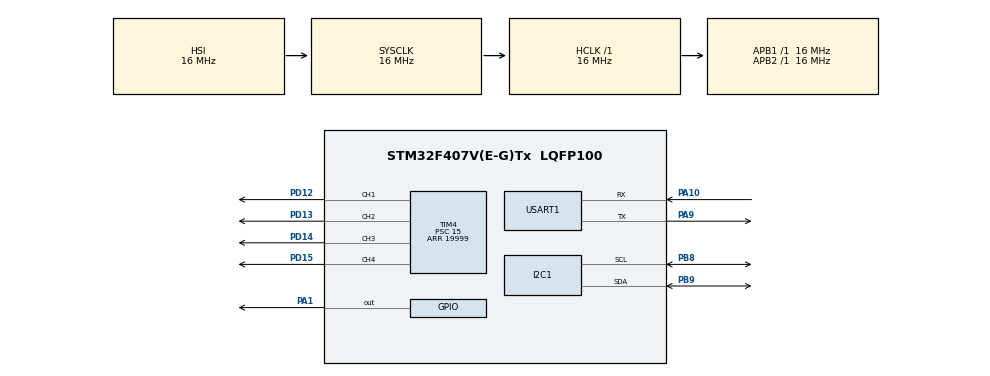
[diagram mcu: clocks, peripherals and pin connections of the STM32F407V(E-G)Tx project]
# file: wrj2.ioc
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FREERTOS.Tasks01=defaultTask,24,128,StartDefaultTask,Default,NULL,Dynamic,NULL,NULL;ControlTask,40,512,StartControlTask,Default,NULL,Dynamic,NULL,NULL;UartTask,24,256,StartUartTask,Default,NULL,Dynamic,NULL,NULL;StatusTask,8,512,StartStatusTask,Default,NULL,Dynamic,NULL,NULL
Mcu.Family=STM32F4
Mcu.Name=STM32F407V(E-G)Tx
Mcu.Package=LQFP100
NVIC.PriorityGroup=NVIC_PRIORITYGROUP_4
NVIC.RCC_IRQn=true\:5\:0\:false\:false\:true\:true\:true\:false\:true
NVIC.TIM6_DAC_IRQn=true\:15\:0\:false\:false\:true\:false\:false\:true\:true
NVIC.TimeBase=TIM6_DAC_IRQn
NVIC.TimeBaseIP=TIM6
PA1.Signal=GPIO_Output
PA10.Mode=Asynchronous
PA10.Signal=USART1_RX
PA13.Mode=Serial_Wire
PA13.Signal=SYS_JTMS-SWDIO
PA14.Mode=Serial_Wire
PA14.Signal=SYS_JTCK-SWCLK
PA9.Mode=Asynchronous
PA9.Signal=USART1_TX
PB8.Mode=I2C
PB8.Signal=I2C1_SCL
PB9.Mode=I2C
PB9.Signal=I2C1_SDA
PD12.Signal=S_TIM4_CH1
PD13.Signal=S_TIM4_CH2
PD14.Signal=S_TIM4_CH3
PD15.Signal=S_TIM4_CH4
PH0-OSC_IN.Mode=HSE-External-Oscillator
PH0-OSC_IN.Signal=RCC_OSC_IN
PH1-OSC_OUT.Mode=HSE-External-Oscillator
PH1-OSC_OUT.Signal=RCC_OSC_OUT
ProjectManager.HeapSize=0x200
ProjectManager.StackSize=0x400
ProjectManager.TargetToolchain=MDK-ARM V5.32
RCC.AHBFreq_Value=16000000
RCC.APB1Freq_Value=16000000
RCC.APB2Freq_Value=16000000
RCC.CortexFreq_Value=16000000
RCC.HSE_VALUE=25000000
RCC.HSI_VALUE=16000000
RCC.LSE_VALUE=32768
RCC.SYSCLKFreq_VALUE=16000000
RCC.VCOOutputFreq_Value=192000000
SH.S_TIM4_CH1.0=TIM4_CH1,PWM Generation1 CH1
SH.S_TIM4_CH2.0=TIM4_CH2,PWM Generation2 CH2
SH.S_TIM4_CH3.0=TIM4_CH3,PWM Generation3 CH3
SH.S_TIM4_CH4.0=TIM4_CH4,PWM Generation4 CH4
TIM4.Channel-PWM\ Generation1\ CH1=TIM_CHANNEL_1
TIM4.Channel-PWM\ Generation2\ CH2=TIM_CHANNEL_2
TIM4.Channel-PWM\ Generation3\ CH3=TIM_CHANNEL_3
TIM4.Channel-PWM\ Generation4\ CH4=TIM_CHANNEL_4
TIM4.Period=19999
TIM4.Prescaler=15
TIM4.Pulse-PWM\ Generation1\ CH1=1000
TIM4.Pulse-PWM\ Generation2\ CH2=1000
TIM4.Pulse-PWM\ Generation3\ CH3=1000
TIM4.Pulse-PWM\ Generation4\ CH4=1000
USART1.VirtualMode=VM_ASYNC
VP_FREERTOS_VS_CMSIS_V2.Mode=CMSIS_V2
VP_SYS_VS_tim6.Mode=TIM6
board=custom

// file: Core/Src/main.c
/* USER CODE BEGIN Header */
/**
  ******************************************************************************
  * @file           : main.c
  * @brief          : Main program body
  ******************************************************************************
  * @attention
  *
  * Copyright (c) 2026 STMicroelectronics.
  * All rights reserved.
  *
  * This software is licensed under terms that can be found in the LICENSE file
  * in the root directory of this software component.
  * If no LICENSE file comes with this software, it is provided AS-IS.
  *
  ******************************************************************************
  */
/* USER CODE END Header */
#include "main.h"
#include "cmsis_os.h"
#include "i2c.h"
#include "usart.h"
#include "gpio.h"
#include "tim.h"
/* USER CODE BEGIN Includes */
// App modules
#include "app_init.h"
#include "app_state.h"
#include "app_command.h"
#include "app_uart.h"
#include "uart_queue.h"

// Flight modules
#include "mpu6050.h"
#include "attitude.h"
#include "pid.h"
#include "motor.h"
#include "flight_control.h"
#include "flight_types.h"
/* USER CODE END Includes */

void SystemClock_Config(void);
void MX_FREERTOS_Init(void);

int main(void)
{

  /* MCU Configuration--------------------------------------------------------*/

  /* Reset of all peripherals, Initializes the Flash interface and the Systick. */
  HAL_Init();

  /* Configure the system clock */
  SystemClock_Config();

  /* Initialize all configured peripherals */
  MX_GPIO_Init();
  MX_USART1_UART_Init();
  MX_I2C1_Init();
  MX_TIM4_Init();
  /* USER CODE BEGIN 2 */
 app_init();
  /* USER CODE END 2 */

  /* Init scheduler */
  osKernelInitialize();  /* Call init function for freertos objects (in cmsis_os2.c) */
  MX_FREERTOS_Init();

  /* Start scheduler */
  osKernelStart();

  /* We should never get here as control is now taken by the scheduler */

  /* Infinite loop */
  while (1)
{

  }
}

void SystemClock_Config(void)
{
  RCC_OscInitTypeDef RCC_OscInitStruct = {0};
  RCC_ClkInitTypeDef RCC_ClkInitStruct = {0};

  /** Configure the main internal regulator output voltage
  */
  __HAL_RCC_PWR_CLK_ENABLE();
  __HAL_PWR_VOLTAGESCALING_CONFIG(PWR_REGULATOR_VOLTAGE_SCALE1);

  /** Initializes the RCC Oscillators according to the specified parameters
  * in the RCC_OscInitTypeDef structure.
  */
  RCC_OscInitStruct.OscillatorType = RCC_OSCILLATORTYPE_HSI;
  RCC_OscInitStruct.HSIState = RCC_HSI_ON;
  RCC_OscInitStruct.HSICalibrationValue = RCC_HSICALIBRATION_DEFAULT;
  RCC_OscInitStruct.PLL.PLLState = RCC_PLL_NONE;
  if (HAL_RCC_OscConfig(&RCC_OscInitStruct) != HAL_OK)
  {
    Error_Handler();
  }

  /** Initializes the CPU, AHB and APB buses clocks
  */
  RCC_ClkInitStruct.ClockType = RCC_CLOCKTYPE_HCLK|RCC_CLOCKTYPE_SYSCLK
                              |RCC_CLOCKTYPE_PCLK1|RCC_CLOCKTYPE_PCLK2;
  RCC_ClkInitStruct.SYSCLKSource = RCC_SYSCLKSOURCE_HSI;
  RCC_ClkInitStruct.AHBCLKDivider = RCC_SYSCLK_DIV1;
  RCC_ClkInitStruct.APB1CLKDivider = RCC_HCLK_DIV1;
  RCC_ClkInitStruct.APB2CLKDivider = RCC_HCLK_DIV1;

  if (HAL_RCC_ClockConfig(&RCC_ClkInitStruct, FLASH_LATENCY_0) != HAL_OK)
  {
    Error_Handler();
  }
}

void HAL_TIM_PeriodElapsedCallback(TIM_HandleTypeDef *htim)
{
  if (htim->Instance == TIM6)
  {
    HAL_IncTick();
  }
}

void Error_Handler(void)
{
  __disable_irq();
  while (1)
  {
  }
}

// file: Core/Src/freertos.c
/* USER CODE BEGIN Header */
/**
  ******************************************************************************
  * File Name          : freertos.c
  * Description        : Code for freertos applications
  ******************************************************************************
  * @attention
  *
  * Copyright (c) 2026 STMicroelectronics.
  * All rights reserved.
  *
  * This software is licensed under terms that can be found in the LICENSE file
  * in the root directory of this software component.
  * If no LICENSE file comes with this software, it is provided AS-IS.
  *
  ******************************************************************************
  */
/* USER CODE END Header */

#include "FreeRTOS.h"
#include "task.h"
#include "main.h"
#include "cmsis_os.h"

/* USER CODE BEGIN Includes */
#include "flight_types.h"
#include <stdio.h>
#include "app_uart.h"
#include "mpu6050.h"
#include "attitude.h"
#include "motor.h"
#include "flight_control.h"
#include "app_state.h"
#include "app_command.h"
#include "uart_queue.h"
/* USER CODE END Includes */

/* USER CODE BEGIN PTD */
#define UART_QUEUE_TEXT_SIZE 192
#define UART_QUEUE_LENGTH    8

typedef struct
{
  char text[UART_QUEUE_TEXT_SIZE];    // chuan kou yao fa song de yi tiao wen ben
} UartQueueMessage;

/* USER CODE END PTD */

/* USER CODE BEGIN Variables */

uint32_t control_task_count = 0;
uint32_t uart_task_count = 0;
uint32_t status_task_count = 0;

osMessageQueueId_t uart_queueHandle;    // chuan kou xiao xi dui lie ju bing

const osMessageQueueAttr_t uart_queue_attributes = {
  .name = "uart_queue"                  // dui lie ming zi, zhu yao yong yu tiao shi
};

osThreadId_t UartPrintTaskHandle;       // chuan kou da yin ren wu ju bing

const osThreadAttr_t UartPrintTask_attributes = {
  .name = "UartPrintTask",              // ren wu ming zi
  .stack_size = 512 * 4,                // ren wu zhan da xiao
  .priority = (osPriority_t) osPriorityBelowNormal,  // ren wu you xian ji
};

/* USER CODE END Variables */
/* Definitions for defaultTask */
osThreadId_t defaultTaskHandle;
const osThreadAttr_t defaultTask_attributes = {
  .name = "defaultTask",
  .stack_size = 128 * 4,
  .priority = (osPriority_t) osPriorityNormal,
};
/* Definitions for ControlTask */
osThreadId_t ControlTaskHandle;
const osThreadAttr_t ControlTask_attributes = {
  .name = "ControlTask",
  .stack_size = 512 * 4,
  .priority = (osPriority_t) osPriorityHigh,
};
/* Definitions for UartTask */
osThreadId_t UartTaskHandle;
const osThreadAttr_t UartTask_attributes = {
  .name = "UartTask",
  .stack_size = 256 * 4,
  .priority = (osPriority_t) osPriorityNormal,
};
/* Definitions for StatusTask */
osThreadId_t StatusTaskHandle;
const osThreadAttr_t StatusTask_attributes = {
  .name = "StatusTask",
  .stack_size = 512 * 4,
  .priority = (osPriority_t) osPriorityLow,
};

/* USER CODE BEGIN FunctionPrototypes */

void StartUartPrintTask(void *argument);        // chuan kou da yin ren wu han shu

/* USER CODE END FunctionPrototypes */

void StartDefaultTask(void *argument);
void StartControlTask(void *argument);
void StartUartTask(void *argument);
void StartStatusTask(void *argument);

void MX_FREERTOS_Init(void); /* (MISRA C 2004 rule 8.1) */

void MX_FREERTOS_Init(void) {

  /* USER CODE BEGIN RTOS_MUTEX */
//	uart_mutexHandle = osMutexNew(&uart_mutex_attributes);    // chuang jian chuan kou hu chi suo
  /* add mutexes, ... */
  /* USER CODE END RTOS_MUTEX */

  /* USER CODE BEGIN RTOS_QUEUES */
  /* add queues, ... */
	uart_queueHandle = osMessageQueueNew(UART_QUEUE_LENGTH,
                                     sizeof(UartQueueMessage),
                                     &uart_queue_attributes);    // chuang jian chuan kou xiao xi dui lie
  /* USER CODE END RTOS_QUEUES */

  /* Create the thread(s) */
  /* creation of defaultTask */
  defaultTaskHandle = osThreadNew(StartDefaultTask, NULL, &defaultTask_attributes);

  /* creation of ControlTask */
  ControlTaskHandle = osThreadNew(StartControlTask, NULL, &ControlTask_attributes);

  /* creation of UartTask */
  UartTaskHandle = osThreadNew(StartUartTask, NULL, &UartTask_attributes);

  /* creation of StatusTask */
  StatusTaskHandle = osThreadNew(StartStatusTask, NULL, &StatusTask_attributes);

  /* USER CODE BEGIN RTOS_THREADS */
  /* add threads, ... */
	UartPrintTaskHandle = osThreadNew(StartUartPrintTask,
                                  NULL,
                                  &UartPrintTask_attributes);    // chuang jian chuan kou da yin ren wu
  /* USER CODE END RTOS_THREADS */

}

void StartDefaultTask(void *argument)
{
  for(;;)
  {
    osDelay(1);
  }
}

void StartControlTask(void *argument) // kong zhi suan fa
{
  /* USER CODE BEGIN StartControlTask */
  /* Infinite loop */
	HAL_StatusTypeDef ret;    // baocun MPU6050 duqu jieguo
  float dt = 0.01f;         // 10ms = 0.01s
  for(;;)
  {
		control_task_count++;   // ControlTask yunxing cishu +1

    ret = mpu6050_read_raw(&raw);    // duqu MPU6050 yuan shi shu ju

    if (ret == HAL_OK)               // duqu chenggong
    {
      attitude_update(&raw, &attitude, dt);    // gengxin zitai jiao

      if (flight_state == FLIGHT_ARMED)        // zhiyou jiesuo hou cai zuo baohu
      {
        if (HAL_GetTick() - last_cmd_tick >= 5000)
        {
          flight_state = FLIGHT_LOCKED;        // 5s mei mingling, zidong suoding
          motor_lock_output(&motor1, &motor2, &motor3, &motor4);

          uart_queue_send_string("CMD_TIMEOUT_LOCKED\r\n");

        }

        if (attitude_is_safe(&attitude) == 0)
        {
          flight_state = FLIGHT_ERROR;         // jiaodu guo da, jinru ERROR
          motor_lock_output(&motor1, &motor2, &motor3, &motor4);

          uart_queue_send_string("ERROR=ANGLE_LIMIT\r\n");

        }
      }

      flight_control_update(flight_state,
                            &attitude,
                            dt,
                            base_pwm,
                            &roll_pid_output,
                            &pitch_pid_output,
                            &motor1,
                            &motor2,
                            &motor3,
                            &motor4);
    }
    else
    {
      if (flight_state != FLIGHT_ERROR)
      {

        uart_queue_send_string("ERROR=MPU_READ\r\n");

      }

      flight_state = FLIGHT_ERROR;             // MPU6050 duqu shibai
      motor_lock_output(&motor1, &motor2, &motor3, &motor4);
    }

    osDelay(10);    // 10ms yunxing yi ci kongzhi renwu
  }
  /* USER CODE END StartControlTask */
}

void StartUartTask(void *argument)      // chuan kou
{
  /* USER CODE BEGIN StartUartTask */
  /* Infinite loop */
  for(;;)
  {
		uart_task_count++;

		app_command_check(&base_pwm, &last_cmd_tick, &attitude);

    osDelay(1);
  }
  /* USER CODE END StartUartTask */
}

void StartStatusTask(void *argument)
{
  /* USER CODE BEGIN StartStatusTask */
  /* Infinite loop */
	uint32_t led_interval = 500;    // LED shan shuo zhou qi
	uint32_t status_print_tick = HAL_GetTick();   // da yin zhou qi shi jian
  uint32_t led_tick = HAL_GetTick();            // LED zhou qi shi jian
  uint32_t status_print_interval = 100;          // 100ms da yin yi ci
  for(;;)
  {
  uint32_t now_ms = HAL_GetTick();

    status_task_count++;    // StatusTask yunxing cishu +1

    if (now_ms - status_print_tick >= status_print_interval)
    {
      status_print_tick = now_ms;

      char status_msg[UART_QUEUE_TEXT_SIZE];     // bao cun yi zheng hang zhuang tai wen ben
const char *state_text = "UNKNOWN";        // zhuang tai wen ben mo ren zhi

if (flight_state == FLIGHT_LOCKED)
{
  state_text = "LOCKED";                   // suoding zhuang tai
}
else if (flight_state == FLIGHT_ARMED)
{
  state_text = "ARMED";                    // jiesuo zhuang tai
}
else if (flight_state == FLIGHT_ERROR)
{
  state_text = "ERROR";                    // cuowu zhuang tai
}

snprintf(status_msg,
         sizeof(status_msg),
         "STATE=%s, ROLL_X100=%ld, PITCH_X100=%ld, ROLL_PID=%ld, PITCH_PID=%ld, M1=%ld, M2=%ld, M3=%ld, M4=%ld\r\n",
         state_text,
         (long)(attitude.fused_roll * 100.0f),
         (long)(attitude.fused_pitch * 100.0f),
         (long)roll_pid_output,
         (long)pitch_pid_output,
         (long)motor1,
         (long)motor2,
         (long)motor3,
         (long)motor4);                    // ba duo ge shu ju zu he cheng yi hang wen ben

uart_queue_send_string(status_msg);        // ba wen ben fang ru chuan kou dui lie
    }

    if (flight_state == FLIGHT_ARMED)
    {
      led_interval = 100;   // jiesuo kuai shan
    }
    else if (flight_state == FLIGHT_ERROR)
    {
      led_interval = 50;    // cuowu geng kuai shan
    }
    else
    {
      led_interval = 500;   // suoding man shan
    }

    if (now_ms - led_tick >= led_interval)
    {
      led_tick = now_ms;
      HAL_GPIO_TogglePin(GPIOA, GPIO_PIN_1);    // fan zhuan LED
    }

    osDelay(1);   // rang chu liqi you kong qi
	}
}
  /* USER CODE END StartStatusTask */

/* USER CODE BEGIN Application */
void uart_queue_send_string(const char *str)
{
  UartQueueMessage msg;    // chuang jian yi ge dui lie xiao xi
  uint32_t i = 0;          // zi fu xia biao

  if (str == NULL)         // ru guo chuan ru kong zhi zhen, zhi jie fan hui
  {
    return;
  }

  while ((str[i] != '\0') && (i < (UART_QUEUE_TEXT_SIZE - 1U)))
  {
    msg.text[i] = str[i];  // yi ge zi fu yi ge zi fu kao bei
    i++;
  }

  msg.text[i] = '\0';      // shou dong bu shang zi fu chuan jie shu fu

  if (uart_queueHandle != NULL)    // dui lie yi jing chuang jian cai fa song
  {
    (void)osMessageQueuePut(uart_queueHandle, &msg, 0U, 0U);    // ba xiao xi fang ru dui lie
  }
}

void StartUartPrintTask(void *argument)
{
  UartQueueMessage msg;    // yong lai jie shou dui lie li de xiao xi

  for(;;)
  {
    if (uart_queueHandle == NULL)    // dui lie mei chuang jian cheng gong
    {
      osDelay(100);                  // deng yi xia zai jian cha
    }
    else if (osMessageQueueGet(uart_queueHandle, &msg, NULL, osWaitForever) == osOK)
    {
      uart1_send_string(msg.text);   // cong dui lie qu dao xiao xi hou, tong yi fa song
    }
  }
}

/* USER CODE END Application */
